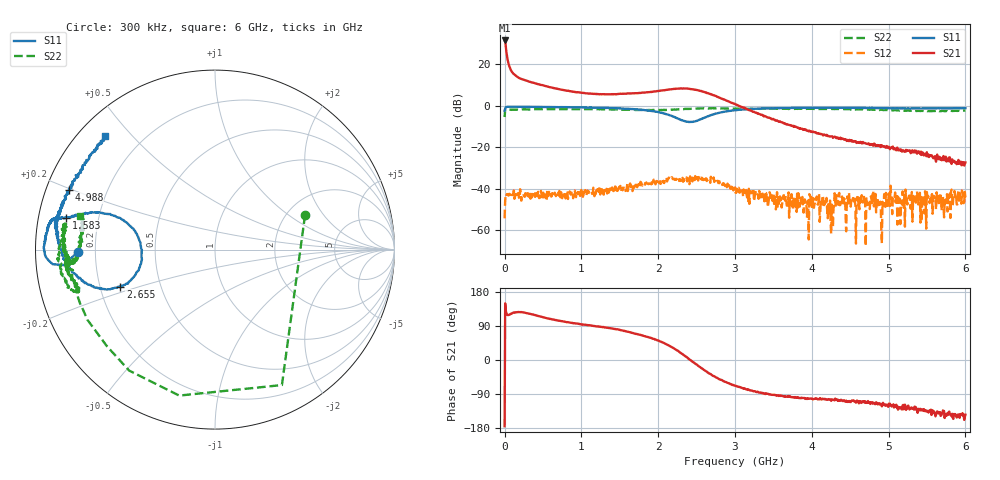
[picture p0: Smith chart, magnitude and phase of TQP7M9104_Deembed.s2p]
! TriQuint Semiconductor
! Device: TQP7M9104 ( 5V 2W High Linearity Amplifier)
! 24 pin QFN 4X4mm SMT Package
! De-embedded S-parameter meausred using port extensions on the PCB.
! Port 1 extension : 196.83ps
! Port 2 extension : 193.02ps
! Network Analyzer HP8753E.07.72: Apr 03, 2002 Serial No. US38161002
! 25 Oct 2011  11:56:19
! Frequency  S11  S21  S12  S22
# HZ  S  DB R  50
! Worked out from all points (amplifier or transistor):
!   801 points, 300 kHz to 6 GHz, reference 50 ohm
!   highest |S21| = 31.5 dB at 7.8 MHz (marker M1)
!   |S21| within 3 dB of that: start of sweep to 16.06 MHz
!   unconditionally stable (mu >= 1): 229.2 MHz to 272.9 MHz; 316.3 MHz to 367.5 MHz; 490.2 MHz to end of sweep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
!   at 997.8 MHz: K = 1.32, MAG = 20.1 dB, |S12| = -40.6 dB
!   at 3 GHz: K = 4.97, MAG = 10.2 dB, |S12| = -39.4 dB
!   at 6 GHz: K = 167.10, MAG = -16.8 dB, |S12| = -44.1 dB
!   S11 on the Smith chart (normalised r, x): 300 kHz: 0.13, -0.01; 1.583 GHz: 0.08, +0.10; 2.655 GHz: 0.29, -0.17; 4.988 GHz: 0.07, +0.20; 6 GHz: 0.08, +0.42
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300000  -2.33 -179.1  31.53 -174.7  -54.30 149.6  -5.40 20.9
7799625  -1.44 -174.1  31.55 149.4  -45.53 54.6  -1.50 -63.7
3.779812e7  -0.47 -178.1  22.56 118.7  -42.58 6.3  -1.89 -145.8
4.529775e7  -0.45 -178.7  21.27 118.5  -43.12 18.9  -1.82 -151.1
5.279738e7  -0.46 -179.3  20.13 119.0  -43.27 4.1  -1.85 -155.4
6.0297e7  -0.42 -179.6  19.23 119.3  -42.46 13.4  -1.84 -158.2
8.279588e7  -0.40 179.5  17.17 122.2  -41.92 2.5  -1.88 -163.8
1.352932e8  -0.43 178.0  14.90 125.1  -43.90 0.0  -1.83 -168.9
2.327884e8  -0.48 176.1  12.79 126.3  -43.29 10.2  -1.73 -172.6
5.627719e8  -0.59 171.6  9.26 109.8  -42.89 -4.8  -1.61 -175.7
1.00525e9  -0.76 169.2  6.29 93.9  -42.84 6.4  -1.53 -173.7
1.582721e9  -1.43 167.9  5.82 75.7  -40.81 -13.5  -1.89 -167.9
2.0027e9  -3.01 163.0  7.14 51.9  -36.67 -37.9  -1.99 -163.2
2.362682e9  -7.59 174.8  8.37 8.7  -35.80 -76.7  -1.51 -166.1
2.655167e9  -4.95 -158.7  6.00 -34.5  -35.34 -117.1  -1.26 -174.9
3.00015e9  -2.14 -169.2  0.90 -67.7  -39.42 -168.4  -1.45 175.3
4.0051e9  -0.95 171.4  -12.62 -101.6  -49.31 100.6  -1.47 174.4
4.252587e9  -0.93 169.6  -14.71 -107.8  -61.73 -51.4  -1.46 178.1
4.327584e9  -0.91 169.2  -15.29 -104.3  -43.95 114.1  -1.55 179.6
4.987551e9  -1.11 157.8  -20.24 -120.2  -45.47 109.6  -2.09 -174.6
5.00255e9  -1.13 157.7  -19.74 -115.3  -42.22 84.3  -2.09 -174.7
6e9  -1.12 133.9  -27.32 -144.4  -44.12 66.5  -2.20 165.8
